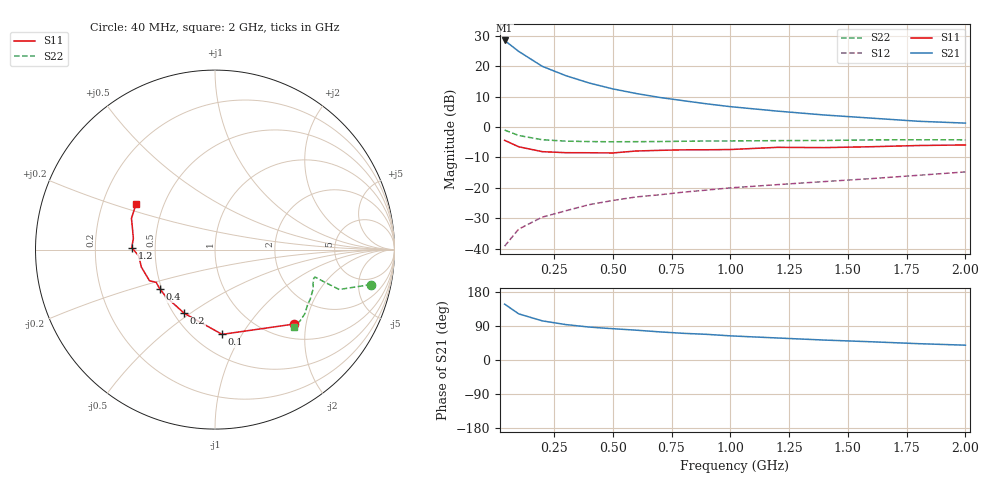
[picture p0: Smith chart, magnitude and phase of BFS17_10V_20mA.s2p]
! Filename:  BFS17J.S2P  Version:  2.0
! Philips part #: BFS17  Date: Jul 1990
! Bias condition: Vce=10V, Ic=20mA
#  MHz  S  MA  R  50
! Freq  S11  S21  S12  S22  !GUM [dB]
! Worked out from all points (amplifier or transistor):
!   16 points, 40 MHz to 2 GHz, reference 50 ohm
!   highest |S21| = 28.5 dB at 40 MHz (marker M1)
!   |S21| within 3 dB of that: start of sweep to 90.06 MHz
!   unconditionally stable (mu >= 1): 377.3 MHz to 1.656 GHz
!   at 200 MHz: K = 0.85, MSG = 24.8 dB, |S12| = -29.6 dB
!   at 800 MHz: K = 1.09, MAG = 13.2 dB, |S12| = -21.4 dB
!   at 2 GHz: K = 0.89, MSG = 8.0 dB, |S12| = -14.8 dB
!   S11 on the Smith chart (normalised r, x): 40 MHz: 1.31, -1.71; 100 MHz: 0.68, -0.82; 200 MHz: 0.56, -0.47; 400 MHz: 0.49, -0.25; 1.2 GHz: 0.37, +0.01; 2 GHz: 0.35, +0.24
40  0.605 -43.3  26.54 147.5  0.011 72.0  0.892 -12.6
100  0.474 -85.2  17.55 121.8  0.021 62.5  0.727 -17.8
200  0.394 -115.8  9.975 103.3  0.033 61.7  0.619 -16.2
300  0.379 -135.3  7.007 93.5  0.042 64.6  0.587 -15.5
400  0.378 -144.5  5.298 86.9  0.053 65.5  0.577 -15.4
500  0.375 -150.9  4.244 82.6  0.062 66.6  0.573 -16.5
600  0.404 -154.6  3.56 78.7  0.071 66.4  0.575 -17.4
700  0.414 -162.8  3.066 74.2  0.077 66.2  0.578 -19.1
800  0.422 -166.8  2.714 70.4  0.085 67.3  0.584 -20.5
900  0.423 -171.5  2.409 67.7  0.092 68.7  0.59 -22.0
1000  0.427 -175.3  2.165 63.7  0.1 69.5  0.591 -23.5
1200  0.464 178.6  1.829 58.1  0.113 71.7  0.598 -27.2
1400  0.459 172.3  1.578 52.6  0.127 74.1  0.602 -31.4
1600  0.475 165.5  1.402 48.1  0.142 77.2  0.615 -35.4
1800  0.497 159.5  1.245 43.1  0.161 79.5  0.618 -39.7
2000  0.508 149.9  1.161 39.1  0.183 80.6  0.616 -44.1
